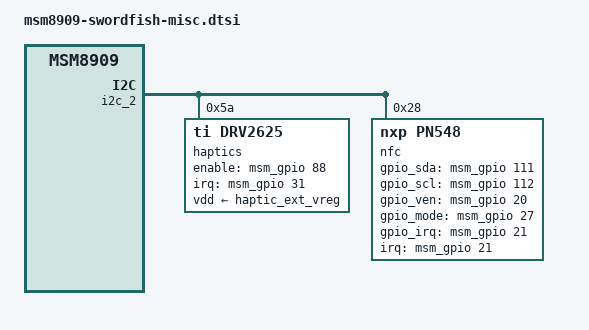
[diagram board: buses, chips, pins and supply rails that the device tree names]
/* Copyright (c) 2016, LGE Inc. All rights reserved.
 *
 * This program is free software; you can redistribute it and/or modify
 * it under the terms of the GNU General Public License version 2 and
 * only version 2 as published by the Free Software Foundation.
 *
 * This program is distributed in the hope that it will be useful,
 * but WITHOUT ANY WARRANTY; without even the implied warranty of
 * MERCHANTABILITY or FITNESS FOR A PARTICULAR PURPOSE.  See the
 * GNU General Public License for more details.
 */

&i2c_2 { /* BLSP1 QUP2 */
	haptics: haptics@5a {
		compatible = "ti,drv2625";
		reg = <0x5a>;
		interrupt-parent = <&msm_gpio>;
		interrupts = <31 0x00>;
		vdd-supply = <&haptic_ext_vreg>;
		enable-gpio = <&msm_gpio 88 0x00>;
		loop = <0x00>; /* CSLOSE: 0x00, OPEN: 0x01 */
		actuator {
			name = "actuator";
			actuator-type = <0x01>; /* ERM: 0x00, LRA: 0x01 */
			rated-volt = <0x3d>;
			od-clamp-volt = <0x87>;
			lra-freq = <204>;
		};
	};

	nfc: pn548@28 {
		status = "okay";
		compatible = "nxp,pn548";
		reg = <0x28>;
		nxp,gpio_sda = <&msm_gpio 111 0x00>;
		nxp,gpio_scl = <&msm_gpio 112 0x00>;
		nxp,gpio_ven = <&msm_gpio 20 0x00>;
		nxp,gpio_mode = <&msm_gpio 27 0x00>;
		nxp,gpio_irq = <&msm_gpio 21 0x00>;
		qcom,clk-src = "BBCLK2";
		interrupt-parent = <&msm_gpio>;
		interrupts = <21 0x2>;
		interrupt-names = "nfc_irq";
		pinctrl-names = "default","suspend";
		pinctrl-0 = <&nfc_int_active &nfc_reset_active &nfc_mode_active>;
		pinctrl-1 = <&nfc_int_suspend &nfc_reset_suspend &nfc_mode_suspend>;
		nxp,i2c-pull-up = <1>;
		clocks = <&clock_rpm clk_bb_clk2_pin>;
		clock-names = "ref_clk";
	};
};

&soc {
	charger-dock {
		compatible = "charger-dock-detector";
		status = "okay";
	};
};
